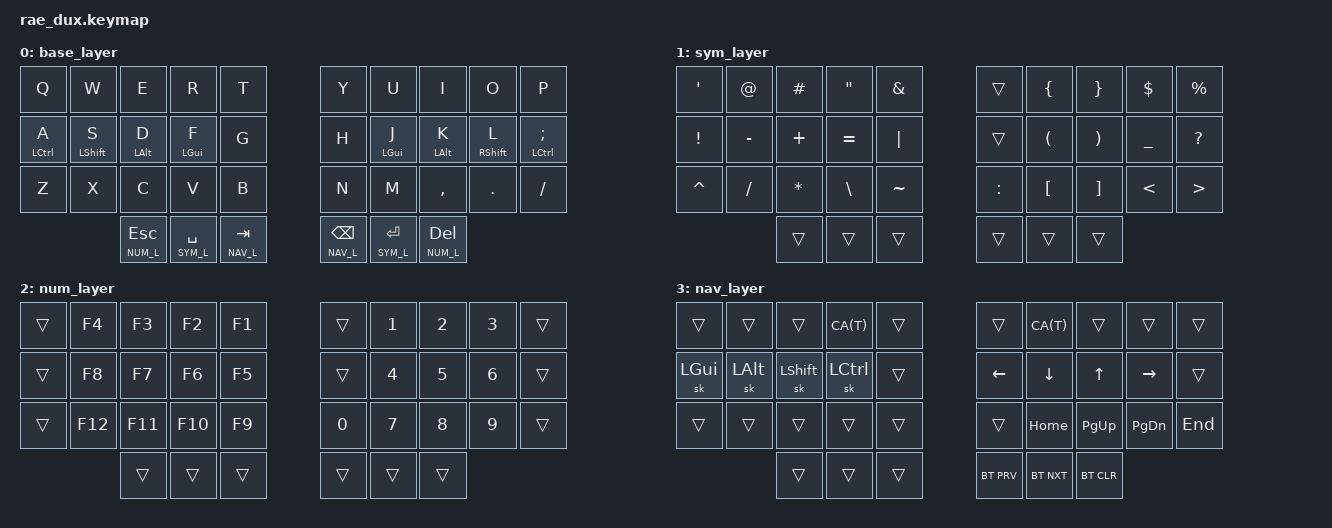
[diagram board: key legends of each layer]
/*
 * Copyright (c) 2021 The ZMK Contributors
 *
 * SPDX-License-Identifier: MIT
 */

#include <behaviors.dtsi>
#include <dt-bindings/zmk/bt.h>
#include <dt-bindings/zmk/keys.h>

&sk {
    release-after-ms = <750>;
    quick-release;
};

&caps_word {
    continue-list = <UNDERSCORE MINUS BSPC>;
};


#define BASE_L  0
#define SYM_L   1
#define NUM_L   2
#define NAV_L   3

#define CA(KEY) LC(LA(KEY))

/ {
    combos {
        compatible = "zmk,combos";

        // shortcut
        #define COMBO(NAME, BINDINGS, KEYPOS, TIMEOUT) \
          combo_##NAME { \
            timeout-ms = <TIMEOUT>; \
            bindings = <BINDINGS>; \
            key-positions = <KEYPOS>; \
          };

        /*                KEY POSITIONS

          ╭────────────────────╮ ╭────────────────────╮
          │  0   1   2   3   4 │ │  5   6   7   8   9 │
          │ 10  11  12  13  14 │ │ 15  16  17  18  19 │
          │ 20  21  22  23  24 │ │ 25  26  27  28  29 │
          ╰───────╮ 30  31  32 │ │ 33  34  35 ╭───────╯
                  ╰────────────╯ ╰────────────╯        */

        // COMBO(caps_word_left, &caps_word, 13 14, 60)
        // COMBO(caps_word_right, &caps_word, 15 16, 60)

        // Base layer
        COMBO(fix_short_y, &kp Y, 4 5 15, 500)
        COMBO(fix_short_h, &kp H, 14 5 15, 500)

        // Add combo for left arrow
        COMBO(fix_short_left, &kp LEFT, 14 5 15 32, 500)

        // COMBO(colon, &kp COLON, 7 8, 60)
        // COMBO(semicolon, &kp SEMI, 27 28, 60)
        // COMBO(slash, &kp FSLH, 1 2, 60)

        // COMBO(minus, &kp MINUS, 31 32, 100)
        // COMBO(underscore, &kp UNDER, 33 34, 100)

        // COMBO(equal, &kp EQUAL, 12 23, 100)
        // COMBO(enter, &kp ENTER, 17 26, 60)

        // TODO: add `, (, {, =, ;
    };

    // TODO: wtf does this do
    behaviors {
        lhm: left_hand_positional_hold_tap {
            compatible = "zmk,behavior-hold-tap";
            label = "LEFT_POSITIONAL_HOLD_TAP";
            #binding-cells = <2>;
            flavor = "tap-preferred";
            tapping-term-ms = <200>;
            quick-tap-ms = <125>;
            global-quick-tap;
            bindings = <&kp>, <&kp>;
            // hold-trigger-key-positions = <5 6 7 8 9 15 16 17 18 19 25 26 27 28 29 30 31 32 33 34 35>;
            hold-trigger-key-positions = <5 6 7 8 9 10 11 12 13 15 16 17 18 19 25 26 27 28 29 30 31 32 33 34 35>;
        };

        rhm: right_hand_positional_hold_tap {
            compatible = "zmk,behavior-hold-tap";
            label = "RIGHT_POSITIONAL_HOLD_TAP";
            #binding-cells = <2>;
            flavor = "tap-preferred";
            tapping-term-ms = <200>;
            quick-tap-ms = <125>;
            global-quick-tap;
            bindings = <&kp>, <&kp>;
            // hold-trigger-key-positions = <0 1 2 3 4 10 11 12 13 14 20 21 22 23 24 30 31 32 33 34 35>;
            hold-trigger-key-positions = <0 1 2 3 4 10 11 12 13 14 16 17 18 19 20 21 22 23 24 30 31 32 33 34 35>;
        };

        base_lt: base_layer_hold_tap {
            compatible = "zmk,behavior-hold-tap";
            label = "BASE_LAYER_HOLD_TAP";
            #binding-cells = <2>;
            flavor = "tap-preferred";
            tapping-term-ms = <200>;
            quick-tap-ms = <50>;
            global-quick-tap;
            bindings = <&mo>, <&kp>;
        };
    };

	keymap {
		compatible = "zmk,keymap";

        base_layer {
            bindings = <
                &kp Q         &kp W           &kp E                 &kp R                 &kp T                 &kp Y                  &kp U                 &kp I                 &kp O            &kp P
                &lhm LCTRL A  &lhm LSHIFT S   &lhm LALT D           &lhm LGUI F           &kp G                 &kp H                  &rhm LGUI J           &rhm LALT K           &rhm RSHIFT L    &rhm LCTRL SCLN
                &kp Z         &kp X           &kp C                 &kp V                 &kp B                 &kp N                  &kp M                 &kp COMMA             &kp DOT          &kp FSLH
                /*&           &*/             &base_lt NUM_L ESC    &base_lt SYM_L SPC    &base_lt NAV_L TAB    &base_lt NAV_L BSPC    &base_lt SYM_L RET    &base_lt NUM_L DEL    /*&              &*/
            >;
        };
        
		sym_layer {
			bindings = <
                   &kp APOS     &kp AT        &kp HASH      &kp DQT            &kp AMPS           &trans              &kp LBRC         &kp RBRC         &kp DLLR      &kp PRCNT
                   &kp EXCL     &kp MINUS     &kp PLUS      &kp EQUAL          &kp PIPE           &trans              &kp LPAR         &kp RPAR         &kp UNDER     &kp QMARK
                   &kp CARET    &kp FSLH      &kp STAR      &kp BSLH           &kp TILDE          &kp COLON           &kp LBKT         &kp RBKT         &kp LT        &kp GT
				 /*&            &*/           &trans        &trans             &trans             &trans              &trans           &trans           /*&           &*/
			>;
		};

		num_layer {
			bindings = <
                   &trans      &kp F4        &kp F3        &kp F2             &kp F1             &trans           &kp N1           &kp N2               &kp N3        &trans
                   &trans      &kp F8        &kp F7        &kp F6             &kp F5             &trans           &kp N4           &kp N5               &kp N6        &trans
                   &trans      &kp F12       &kp F11       &kp F10            &kp F9             &kp N0           &kp N7           &kp N8               &kp N9        &trans
				   /*&          &*/          &trans        &trans             &trans             &trans           &trans           &trans               /*&           &*/
			>;
		};

		nav_layer {
			bindings = <
                   &trans       &trans        &trans        &kp CA(T)          &trans             &trans              &kp CA(T)        &trans                &trans             &trans
                   &sk LGUI     &sk LALT      &sk LSHFT     &sk LCTRL          &trans             &kp LEFT            &kp DOWN         &kp UP                &kp RIGHT          &trans
                   &trans       &trans        &trans        &trans             &trans             &trans              &kp HOME         &kp PAGE_UP           &kp PAGE_DOWN      &kp END
				   /*&          &*/           &trans        &trans             &trans             &bt BT_PRV          &bt BT_NXT       &bt BT_CLR            /*&                &*/
			>;
		};
	};
};
